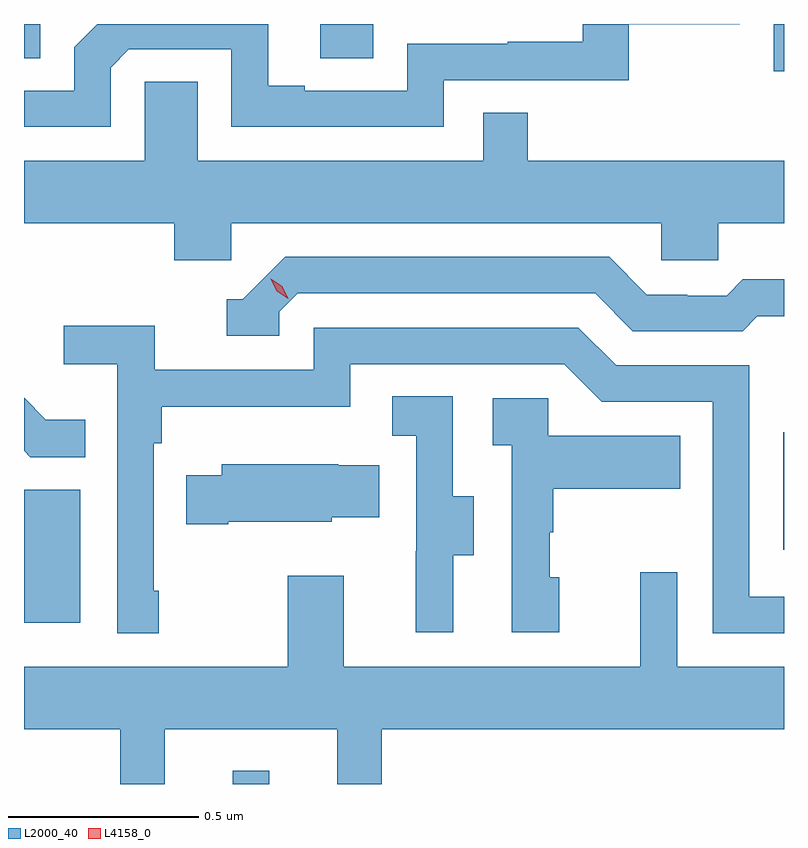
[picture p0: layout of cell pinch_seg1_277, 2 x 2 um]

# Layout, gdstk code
import gdstk
lib = gdstk.Library(unit=1e-6, precision=1e-09)
def R(c, l, rs):  # rectangles x0, y0, x1, y1
    for r in rs: c.add(gdstk.rectangle(r[:2], r[2:], *l))
def P(c, l, *ps):  # polygons
    for p in ps: c.add(gdstk.Polygon(p, *l))
L2000_40 = (2000, 40)
L4158_0 = (4158, 0)

pinch_seg1_277 = lib.new_cell('pinch_seg1_277')
R(pinch_seg1_277, L2000_40, [(913.821,542.264,913.918,542.299), (913.272,542.688,913.42,543.039), (915.27,542.88,915.272,543.19), (915.245,544.14,915.272,544.264), (913.272,544.174,913.315,544.264), (914.051,544.174,914.191,544.264)])
P(pinch_seg1_277, L2000_40, [(913.5,544.149),(913.548,544.197),(913.818,544.197),(913.818,543.993),(914.376,543.993),(914.376,544.116),(914.863,544.116),(914.863,544.263),(915.156,544.263),(915.156,544.264),(914.742,544.264),(914.742,544.217),(914.545,544.217),(914.545,544.212),(914.28,544.212),(914.28,544.089),(914.011,544.089),(914.011,544.102),(913.915,544.102),(913.915,544.264),(913.465,544.264),(913.404,544.203),(913.404,544.089),(913.272,544.089),(913.272,543.993),(913.5,543.993)],
  [(913.818,543.74),(914.949,543.74),(914.949,543.642),(915.099,543.642),(915.099,543.74),(915.272,543.74),(915.272,543.904),(914.597,543.904),(914.597,544.031),(914.481,544.031),(914.481,543.904),(913.729,543.904),(913.729,544.112),(913.59,544.112),(913.59,543.904),(913.272,543.904),(913.272,543.74),(913.667,543.74),(913.667,543.642),(913.818,543.642)],
  [(913.944,543.507),(913.992,543.555),(914.775,543.555),(914.874,543.456),(915.163,543.456),(915.202,543.495),(915.272,543.495),(915.272,543.592),(915.163,543.592),(915.121,543.549),(915.018,543.549),(915.018,543.552),(914.911,543.552),(914.812,543.651),(913.959,543.651),(913.848,543.54),(913.805,543.54),(913.805,543.444),(913.944,543.444)],
  [(913.627,542.773),(913.614,542.773),(913.614,543.161),(913.634,543.161),(913.634,543.257),(914.13,543.257),(914.13,543.369),(914.694,543.369),(914.793,543.27),(915.084,543.27),(915.084,542.661),(915.272,542.661),(915.272,542.757),(915.18,542.757),(915.18,543.366),(914.83,543.366),(914.731,543.465),(914.034,543.465),(914.034,543.354),(913.616,543.354),(913.616,543.47),(913.377,543.47),(913.377,543.368),(913.518,543.368),(913.518,542.661),(913.627,542.661)],
  [(914.401,542.866),(914.455,542.866),(914.455,543.021),(914.4,543.021),(914.4,543.284),(914.241,543.284),(914.241,543.181),(914.304,543.181),(914.304,542.877),(914.303,542.877),(914.303,542.664),(914.401,542.664)],
  [(913.433,543.223),(913.329,543.223),(913.272,543.28),(913.272,543.141),(913.289,543.124),(913.433,543.124)],
  [(914.68,542.808),(914.655,542.808),(914.655,542.927),(914.665,542.927),(914.665,543.041),(914.999,543.041),(914.999,543.181),(914.652,543.181),(914.652,543.279),(914.505,543.279),(914.505,543.155),(914.556,543.155),(914.556,542.664),(914.68,542.664)],
  [(913.81,542.954),(914.082,542.954),(914.082,542.966),(914.207,542.966),(914.207,543.103),(914.099,543.103),(914.099,543.106),(913.793,543.106),(913.793,543.076),(913.699,543.076),(913.699,542.947),(913.81,542.947)],
  [(913.643,542.408),(914.096,542.408),(914.096,542.264),(914.213,542.264),(914.213,542.408),(915.272,542.408),(915.272,542.572),(914.991,542.572),(914.991,542.821),(914.894,542.821),(914.894,542.572),(914.113,542.572),(914.113,542.812),(913.966,542.812),(913.966,542.572),(913.272,542.572),(913.272,542.408),(913.525,542.408),(913.525,542.264),(913.643,542.264)])
P(pinch_seg1_277, L4158_0, [(913.968,543.541),(913.937,543.561),(913.921,543.593),(913.921,543.594),(913.921,543.594),(913.952,543.574),(913.968,543.542),(913.968,543.541)])

lib.write_gds('pinch_seg1_277.gds')
